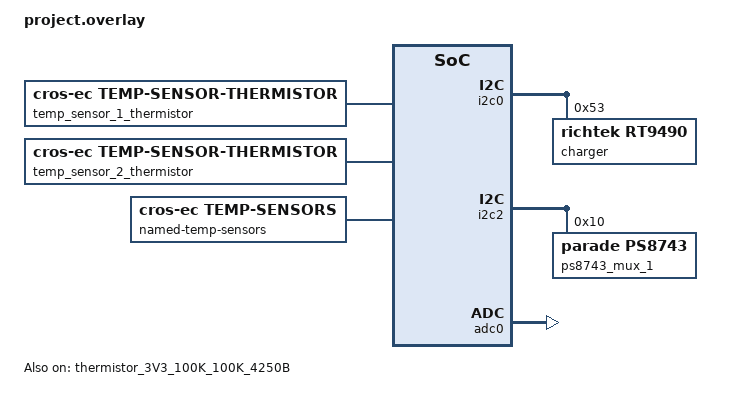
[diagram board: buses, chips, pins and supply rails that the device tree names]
/* Copyright 2023 The ChromiumOS Authors
 * Use of this source code is governed by a BSD-style license that can be
 * found in the LICENSE file.
 */

/* Corsola program common DTS includes */

#include "../common.dtsi"
#include "../power_signal.dtsi"
#include "../ite_adc.dtsi"
#include "../ite_gpio.dtsi"
#include "../ite_i2c.dtsi"
#include "../ite_interrupts.dtsi"
#include "../ite_keyboard.dtsi"
#include "../ite_led.dtsi"
#include "../ite_usbc.dtsi"
#include "../ite_shi.dtsi"
#include <cros/thermistor/thermistor.dtsi>
#include <dt-bindings/motionsense/utils.h>

/ {
	batteries {
		default_battery: b300049{
			compatible = "celxpert,b300049", "battery-smart";
		};
	};

	gpio-interrupts{
		int_base_imu: base_imu {
			irq-pin = <&base_imu_int_l>;
			flags = <GPIO_INT_EDGE_FALLING>;
			handler = "bmi3xx_interrupt";
		};

		/delete-node/ lid_imu;
		/delete-node/ x_ec_gpio2;
		/delete-node/ usba;
	};

	named-gpios {
		compatible = "named-gpios";
		/delete-node/ lid_accel_int_l;
		/delete-node/ usb_c0_ppc_frsinfo;
		//usb_c0_dp_in_hpd: GPH3
		ec_pen_chg_dis_odl: ec_pen_chg_dis_odl{
			gpios = <&gpioh 3 GPIO_OUTPUT_HIGH>;
		};

		en_pp5000_z2: en_pp5000_z2 {
			gpios = <&gpioc 6 GPIO_OUTPUT_LOW>;
		};

		//EN_PP3300_BASE_X  GPD7
		en_pp3300_base_x: en_pp3300_base_x{
			gpios = <&gpiod 7 GPIO_OUTPUT_LOW>;
		};

		//USB_C0_DP_IN_HPD  GPH6
		usb_c0_dp_in_hpd: usb-c0-dp-in-hpd {
			gpios = <&gpioh 6 GPIO_OUTPUT_LOW>;
		};

		//POGO_PRSNT_INT_L  GPI5
		pogo_prsnt_int_l: pogo_prsnt_int_l{
			gpios = <&gpioi 5 GPIO_INPUT_PULL_DOWN>;
		};

		pg_pp4200_s5_od: pg-pp4200-s5-od {
			gpios = <&gpiob 7 GPIO_OUTPUT_HIGH>;
			enum-name = "GPIO_PG_PP4200_S5_OD";
		};

		/delete-node/ en_pp5000_usb_a0_vbus;
		//unuse pin
		//EC_AP_RSVD0_ODL   GPI3 //reserved
	};

	unused-pins {
		unused-gpios =
		//<&gpioa 6 GPIO_INPUT_PULL_DOWN>,
		<&gpioa 7 GPIO_INPUT_PULL_DOWN>,
		<&gpioe 0 GPIO_INPUT_PULL_DOWN>,
		<&gpioe 7 GPIO_INPUT_PULL_DOWN>,
		<&gpiof 0 GPIO_INPUT_PULL_DOWN>,	//EC_EN_PP3300_WCAM
		<&gpiof 1 GPIO_INPUT_PULL_DOWN>,
		<&gpioh 0 GPIO_INPUT_PULL_DOWN>,	//EC_AP_RSVD1_ODL
		<&gpioh 1 GPIO_INPUT_PULL_DOWN>,
		<&gpioh 2 GPIO_INPUT_PULL_DOWN>,
		<&gpioi 3 GPIO_INPUT_PULL_DOWN>,	//EC_AP_RSVD0_ODL
		<&gpiom 2 GPIO_INPUT_PULL_DOWN>;
	};

	named-i2c-ports {
		/delete-node/ i2c_usb_c1;			//unused i2c_usb_c1
		i2c_usb_c1: usb-c1{
			status = "disabled";
		};
	};

	/delete-node/ cros-keyscan;

	aliases {
		/*
		 * motion sense's <>_INT_EVENT is handled
		 * by alias. Using the alias, each driver creates
		 * its own <>_INT_EVENT.
		 */
		bmi3xx-int = &alt_base_accel;
	};

	motionsense-mutex {
		compatible = "cros-ec,motionsense-mutex";
		base_mutex_bmi323: bmi323-mutex {
		};
	};

	/* Rotation matrix used by drivers. */
	motionsense-rotation-ref {
		compatible = "cros-ec,motionsense-rotation-ref";
		base_rot_ref_bmi: base-rotation-ref-bmi {
			mat33 = <1 0 0
				 0 1 0
				 0 0 1>;
		};
	};

	motionsense-sensor-data {
		bmi323_data: bmi323-drv-data {
			compatible = "cros-ec,drvdata-bmi3xx";
			status = "okay";
		};
	};

	motionsense-sensor {
		alt_base_accel: alt-base-accel {
			compatible = "cros-ec,bmi3xx-accel";
			status = "okay";

			active-mask = "SENSOR_ACTIVE_S0_S3";
			location = "MOTIONSENSE_LOC_LID";
			mutex = <&base_mutex_bmi323>;
			port = <&i2c_sensor>;
			rot-standard-ref = <&base_rot_ref_bmi>;
			default-range = <2>;
			drv-data = <&bmi323_data>;
			configs {
				compatible =
					"cros-ec,motionsense-sensor-config";
				ec-s0 {
					odr = <(10000 | ROUND_UP_FLAG)>;
				};
				ec-s3 {
					odr = <(10000 | ROUND_UP_FLAG)>;
				};
			};
		};

		alt_base_gyro: alt-base-gyro {
			compatible = "cros-ec,bmi3xx-gyro";
			status = "okay";

			active-mask = "SENSOR_ACTIVE_S0_S3";
			location = "MOTIONSENSE_LOC_LID";
			mutex = <&base_mutex_bmi323>;
			port = <&i2c_sensor>;
			rot-standard-ref = <&base_rot_ref_bmi>;
			drv-data = <&bmi323_data>;
		};
	};

	motionsense-sensor-info {
		compatible = "cros-ec,motionsense-sensor-info";

		/*
		 * list of GPIO interrupts that have to
		 * be enabled at initial stage
		 */
		sensor-irqs = <&int_base_imu>;
	};

	named-adc-channels {
        adc_temp_sensor_1: adc-temp-sensor-1 {
			enum-name = "ADC_TEMP_SENSOR_1";
			io-channels = <&adc0 6>;
		};
		adc_temp_sensor_2: adc-temp-sensor-2 {
			enum-name = "ADC_TEMP_SENSOR_2";
			io-channels = <&adc0 7>;
		};
    };

	temp_sensor_1_thermistor: sensor-1-thermistor {
		compatible = "cros-ec,temp-sensor-thermistor";
		thermistor = <&thermistor_3V3_100K_100K_4250B>;
		adc = <&adc_temp_sensor_1>;
	};

	temp_sensor_2_thermistor: sensor-2-thermistor {
		compatible = "cros-ec,temp-sensor-thermistor";
		thermistor = <&thermistor_3V3_100K_100K_4250B>;
		adc = <&adc_temp_sensor_2>;
	};

    named-temp-sensors {
		compatible = "cros-ec,temp-sensors";
		temp_sensor_1 {
			sensor = <&temp_sensor_1_thermistor>;
		};
		temp_sensor_2 {
			sensor = <&temp_sensor_2_thermistor>;
		};
	};

	usbc{
		/delete-node/ port1@1;
		/delete-node/ port1-muxes;
		port0@0{
			chg = <&charger>;
			usb_mux_chain_0:usb-mux-chain-0{
				usb-muxes = <&ps8743_mux_1 &virtual_mux_0>;
			};
		};
	};
};

&i2c0{
	charger_bc12_port1: rt9490@53{
		status = "disabled";
	};
	charger: rt9490@53 {
		compatible = "richtek,rt9490";
		status = "okay";
		reg = <0x53>;
	};
};
&i2c2 {
	ps8743_mux_1: ps8743-mux-1@10 {
		compatible = "parade,ps8743";
		reg = <0x10>;
	};

};

&i2c4{
	status = "disabled";
	ppc_port1: syv682x@40 {
		status = "disabled";
	};
	tusb1064_mux_1: tusb1064-mux-1@44 {
		status = "disabled";
	};
};

&adc0{
	status = "okay";
	pinctrl-0 = <&adc0_ch6_gpi6_default>;
	pinctrl-names = "default";
};

&thermistor_3V3_100K_100K_4250B{
    status = "okay";
};

&usbpd1 {
	status = "disabled";
};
